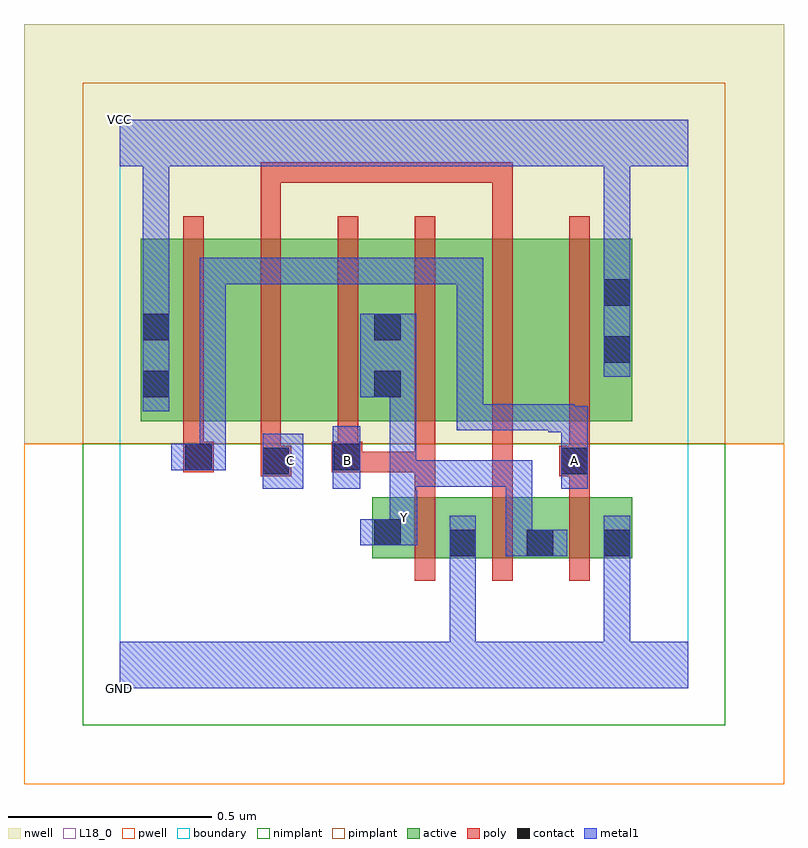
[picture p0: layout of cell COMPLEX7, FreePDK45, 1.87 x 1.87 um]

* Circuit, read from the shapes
.subckt COMPLEX7 A B C GND VCC Y
M1 GND B Y VSUBS nfet w=0.15u l=0.05u
M2 Y C GND VSUBS nfet w=0.15u l=0.05u
M3 GND A Y VSUBS nfet w=0.15u l=0.05u
M4 n1 A VCC n2 pfet w=0.45u l=0.05u
M5 n3 C n1 n2 pfet w=0.45u l=0.05u
M6 Y B n3 n2 pfet w=0.45u l=0.05u
M7 n4 B Y n2 pfet w=0.45u l=0.05u
M8 n5 C n4 n2 pfet w=0.45u l=0.05u
M9 VCC A n5 n2 pfet w=0.45u l=0.05u
.ends

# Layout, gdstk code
import gdstk
lib = gdstk.Library(unit=1e-6, precision=1e-09)
def R(c, l, rs):  # rectangles x0, y0, x1, y1
    for r in rs: c.add(gdstk.rectangle(r[:2], r[2:], *l))
def A(c, l, x, y, w, h, nx, ny, dx, dy):  # array of equal rectangles
    R(c, l, [(x+i*dx, y+j*dy, x+i*dx+w, y+j*dy+h) for i in range(nx) for j in range(ny)])
active = (1, 0)
pwell = (2, 0)
nwell = (3, 0)
nimplant = (4, 0)
pimplant = (5, 0)
poly = (9, 0)
contact = (10, 0)
metal1 = (11, 0)
L18_0 = (18, 0)
boundary = (235, 0)

complex7 = lib.new_cell('COMPLEX7')
R(complex7, active, [(0.622,0.32,0.882,0.47), (0.807,0.32,1.072,0.47), (0.807,0.32,0.882,0.395), (0.997,0.32,1.072,0.47), (0.997,0.32,1.262,0.47), (1.187,0.32,1.262,0.47), (0.622,0.347,0.697,0.47), (0.052,0.657,0.127,1.107), (0.052,0.657,0.277,1.107), (0.277,0.657,0.467,1.107), (0.467,0.657,0.697,1.107), (0.622,0.657,0.847,1.107), (0.622,0.657,0.697,1.07), (0.847,0.657,1.037,1.107), (1.037,0.657,1.262,1.107), (1.187,0.657,1.262,1.107)])
R(complex7, pwell, [(-0.235,-0.235,1.635,0.602)])
R(complex7, nwell, [(-0.235,0.602,1.635,1.635)])
R(complex7, nimplant, [(-0.09,-0.09,1.49,0.602)])
R(complex7, pimplant, [(-0.09,0.602,1.49,1.49)])
A(complex7, poly, 0.727, 0.265, 0.05, 0.26, 3, 1, 0.19, 0)
A(complex7, poly, 0.157, 0.602, 0.05, 0.56, 6, 1, 0.19, 0)
R(complex7, poly, [(0.727,0.475,0.777,0.582), (0.917,0.475,0.967,0.57), (1.107,0.475,1.157,0.572), (0.917,0.52,0.967,0.57), (0.917,0.52,0.967,0.652), (0.347,0.522,0.422,0.597), (1.082,0.522,1.157,0.597), (0.157,0.532,0.232,0.607), (0.522,0.532,0.597,0.607), (0.547,0.532,0.597,0.582), (0.547,0.532,0.597,0.582), (0.547,0.532,0.777,0.582), (0.727,0.532,0.777,0.582), (0.727,0.532,0.777,0.652), (0.347,0.547,0.397,0.652), (1.107,0.547,1.157,0.652), (0.157,0.557,0.207,0.652), (0.537,0.557,0.587,0.652), (0.347,1.112,0.397,1.295), (0.917,1.112,0.967,1.295), (0.347,1.245,0.397,1.295), (0.347,1.245,0.397,1.295), (0.347,1.245,0.397,1.295), (0.347,1.245,0.597,1.295), (0.547,1.245,0.597,1.295), (0.547,1.245,0.597,1.295), (0.547,1.245,0.597,1.295), (0.547,1.245,0.73,1.295), (0.68,1.245,0.967,1.295), (0.68,1.245,0.73,1.295), (0.68,1.245,0.73,1.295), (0.68,1.245,0.73,1.295), (0.917,1.245,0.967,1.295)])
A(complex7, contact, 0.812, 0.325, 0.065, 0.065, 3, 1, 0.19, 0)
R(complex7, contact, [(0.627,0.352,0.692,0.417), (0.352,0.527,0.417,0.592), (1.087,0.527,1.152,0.592), (0.162,0.537,0.227,0.602), (0.527,0.537,0.592,0.602), (0.057,0.717,0.122,0.782), (0.627,0.717,0.692,0.782), (1.192,0.802,1.257,0.867), (0.057,0.857,0.122,0.922), (0.627,0.857,0.692,0.922), (1.192,0.942,1.257,1.007)])
R(complex7, metal1, [(0,0,1.4,0.115), (0.812,0.05,0.877,0.115), (0.812,0.05,0.877,0.115), (0.812,0.05,0.877,0.355), (1.192,0.05,1.257,0.115), (1.192,0.05,1.257,0.115), (1.192,0.05,1.257,0.355), (0.812,0.29,0.877,0.355), (0.812,0.29,0.877,0.355), (0.812,0.29,0.877,0.425), (1.192,0.29,1.257,0.355), (1.192,0.29,1.257,0.355), (1.192,0.29,1.257,0.425), (0.95,0.325,1.032,0.39), (0.95,0.325,1.015,0.562), (0.967,0.325,1.102,0.39), (0.592,0.352,0.73,0.417), (0.665,0.352,0.73,0.417), (0.665,0.352,0.73,0.417), (0.665,0.352,0.73,0.562), (0.665,0.352,0.732,0.487), (0.665,0.422,0.73,0.782), (0.352,0.492,0.452,0.627), (0.525,0.492,0.592,0.645), (1.087,0.492,1.152,0.695), (0.665,0.497,0.895,0.562), (0.83,0.497,0.895,0.562), (0.83,0.497,1.015,0.562), (0.127,0.537,0.262,0.602), (0.197,0.537,0.262,0.602), (0.197,0.537,0.262,0.602), (0.197,0.537,0.262,1.06), (1.055,0.63,1.152,0.695), (1.055,0.63,1.12,0.7), (0.83,0.635,0.895,0.7), (0.83,0.635,0.895,0.7), (0.83,0.635,0.895,0.7), (0.83,0.635,1.12,0.7), (0.83,0.635,0.895,1.06), (0.057,0.682,0.122,0.957), (0.592,0.717,0.73,0.922), (1.192,0.767,1.257,1.042), (0.057,0.892,0.122,1.35), (1.192,0.977,1.257,1.042), (1.192,0.977,1.257,1.042), (1.192,0.977,1.257,1.35), (0.197,0.995,0.262,1.06), (0.197,0.995,0.4,1.06), (0.335,0.995,0.4,1.06), (0.335,0.995,0.4,1.06), (0.335,0.995,0.4,1.06), (0.335,0.995,0.4,1.06), (0.335,0.995,0.4,1.06), (0.335,0.995,0.59,1.06), (0.525,0.995,0.59,1.06), (0.525,0.995,0.59,1.06), (0.525,0.995,0.59,1.06), (0.525,0.995,0.73,1.06), (0.665,0.995,0.73,1.06), (0.665,0.995,0.895,1.06), (0.83,0.995,0.895,1.06), (0.83,0.995,0.895,1.06), (0.83,0.995,0.895,1.06), (0,1.285,1.4,1.4), (0.057,1.285,0.122,1.35), (0.057,1.285,0.122,1.35)])
R(complex7, L18_0, [(0,0,1.4,0.115), (0.812,0.05,0.877,0.115), (0.812,0.05,0.877,0.115), (0.812,0.05,0.877,0.355), (1.192,0.05,1.257,0.115), (1.192,0.05,1.257,0.115), (1.192,0.05,1.257,0.355), (0.812,0.29,0.877,0.355), (0.812,0.29,0.877,0.355), (0.812,0.29,0.877,0.425), (1.192,0.29,1.257,0.355), (1.192,0.29,1.257,0.355), (1.192,0.29,1.257,0.425), (0.95,0.325,1.015,0.562), (0.95,0.325,1.032,0.39), (0.967,0.325,1.102,0.39), (0.592,0.352,0.73,0.417), (0.665,0.352,0.73,0.417), (0.665,0.352,0.73,0.417), (0.665,0.352,0.732,0.487), (0.665,0.352,0.73,0.562), (0.667,0.387,0.732,0.452), (0.665,0.422,0.73,0.782), (0.352,0.492,0.452,0.627), (0.525,0.492,0.592,0.645), (1.087,0.492,1.152,0.695), (0.665,0.497,0.895,0.562), (0.83,0.497,0.895,0.562), (0.83,0.497,1.015,0.562), (0.387,0.527,0.452,0.592), (0.527,0.527,0.592,0.592), (1.087,0.527,1.152,0.592), (0.127,0.537,0.262,0.602), (0.197,0.537,0.262,0.602), (0.197,0.537,0.262,0.602), (0.197,0.537,0.262,1.06), (1.055,0.63,1.12,0.7), (1.055,0.63,1.152,0.695), (0.83,0.635,0.895,0.7), (0.83,0.635,0.895,0.7), (0.83,0.635,0.895,0.7), (0.83,0.635,0.895,1.06), (0.83,0.635,1.12,0.7), (0.057,0.682,0.122,0.957), (0.592,0.717,0.73,0.922), (1.192,0.767,1.257,1.042), (0.057,0.892,0.122,1.35), (1.192,0.977,1.257,1.042), (1.192,0.977,1.257,1.042), (1.192,0.977,1.257,1.35), (0.197,0.995,0.262,1.06), (0.197,0.995,0.4,1.06), (0.335,0.995,0.4,1.06), (0.335,0.995,0.4,1.06), (0.335,0.995,0.4,1.06), (0.335,0.995,0.4,1.06), (0.335,0.995,0.4,1.06), (0.335,0.995,0.59,1.06), (0.525,0.995,0.59,1.06), (0.525,0.995,0.59,1.06), (0.525,0.995,0.59,1.06), (0.525,0.995,0.73,1.06), (0.665,0.995,0.73,1.06), (0.665,0.995,0.895,1.06), (0.83,0.995,0.895,1.06), (0.83,0.995,0.895,1.06), (0.83,0.995,0.895,1.06), (0,1.285,1.4,1.4), (0.057,1.285,0.122,1.35), (0.057,1.285,0.122,1.35)])
R(complex7, boundary, [(0,0,1.4,1.4)])
complex7.add(gdstk.Label('A', (1.12,0.56), layer=11, texttype=0))
complex7.add(gdstk.Label('B', (0.56,0.56), layer=11, texttype=0))
complex7.add(gdstk.Label('C', (0.42,0.56), layer=11, texttype=0))
complex7.add(gdstk.Label('Y', (0.7,0.42), layer=11, texttype=0))
complex7.add(gdstk.Label('VCC', (0,1.4), layer=11, texttype=0))
complex7.add(gdstk.Label('GND', (0,0), layer=11, texttype=0))

lib.write_gds('COMPLEX7.gds')
